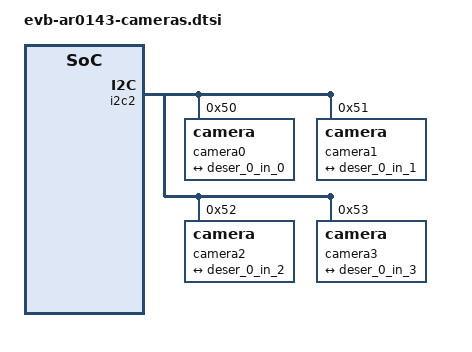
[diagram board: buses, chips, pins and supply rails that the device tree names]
/* 
   ar0143 camera config for evb
   ar0143-yuv*4     1280x720
*/

&i2c2 {
    camera0: camera@50 {
        reg = <0x50>;
        ser-alias-id = <0x41>;
        sensor-alias-id = <0x50>;

        #include "../cameras/ar0143_yuv_1280x720.dtsi"

        port {
            camera_0_out: endpoint@0 {
                remote-endpoint = <&deser_0_in_0>;
            };
        };
    };

    camera1: camera@51 {
        reg = <0x51>;
        ser-alias-id = <0x42>;
        sensor-alias-id = <0x51>;

        #include "../cameras/ar0143_yuv_1280x720.dtsi"

        port {
            camera_1_out: endpoint@0 {
                remote-endpoint = <&deser_0_in_1>;
            };
        };
    };

    camera2: camera@52 {
        reg = <0x52>;
        ser-alias-id = <0x43>;
        sensor-alias-id = <0x52>;

        #include "../cameras/ar0143_yuv_1280x720.dtsi"

        port {
            camera_2_out: endpoint@0 {
                remote-endpoint = <&deser_0_in_2>;
            };
        };
    };

    camera3: camera@53 {
        reg = <0x53>;
        ser-alias-id = <0x44>;
        sensor-alias-id = <0x53>;

        #include "../cameras/ar0143_yuv_1280x720.dtsi"

        port {
            camera_3_out: endpoint@0 {
                remote-endpoint = <&deser_0_in_3>;
            };
        };
    };

    camera4: camera@54 {
        status = "disabled";

        port {
            camera_4_out: endpoint@0 {
                remote-endpoint = <&deser_1_in_0>;
            };
        };

    };

    camera5: camera@55 {
        status = "disabled";
        port {
            camera_5_out: endpoint@0 {
                remote-endpoint = <&deser_1_in_1>;
            };
        };
    };

    camera6: camera@56 {
        status = "disabled";
        port {
            camera_6_out: endpoint@0 {
                remote-endpoint = <&deser_1_in_2>;
            };
        };
    };
    camera7: camera@57 {
        status = "disabled";
        port {
            camera_7_out: endpoint@0 {
                remote-endpoint = <&deser_1_in_3>;
            };
        };
    };

    camera8: camera@58 {
        status = "disabled";
        port {
            camera_8_out: endpoint@0 {
                remote-endpoint = <&deser_2_in_0>;
            };
        };
    };

    camera9: camera@59 {
        status = "disabled";
        port {
            camera_9_out: endpoint@0 {
                remote-endpoint = <&deser_2_in_1>;
            };
        };
    };

    camera10: camera@5a {
        status = "disabled";
        port {
            camera_10_out: endpoint@0 {
                remote-endpoint = <&deser_2_in_2>;
            };
        };
    };

    camera11: camera@5b {
        status = "disabled";
        port {
            camera_11_out: endpoint@0 {
                remote-endpoint = <&deser_2_in_3>;
            };
        };
    };
};
